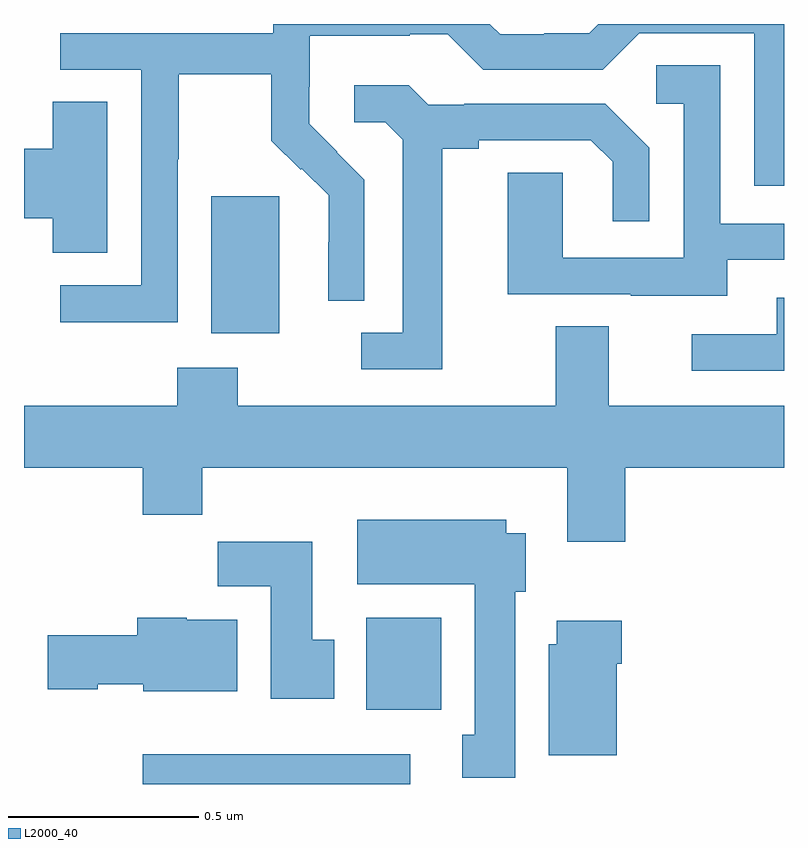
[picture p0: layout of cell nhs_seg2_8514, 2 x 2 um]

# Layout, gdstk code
import gdstk
lib = gdstk.Library(unit=1e-6, precision=1e-09)
def R(c, l, rs):  # rectangles x0, y0, x1, y1
    for r in rs: c.add(gdstk.rectangle(r[:2], r[2:], *l))
def P(c, l, *ps):  # polygons
    for p in ps: c.add(gdstk.Polygon(p, *l))
L2000_40 = (2000, 40)

nhs_seg2_8514 = lib.new_cell('nhs_seg2_8514')
R(nhs_seg2_8514, L2000_40, [(217.313,650.8,218.017,650.878), (217.901,650.996,218.098,651.238), (217.493,651.986,217.672,652.347)])
P(nhs_seg2_8514, L2000_40, [(217.404,652.444),(217.407,652.444),(217.407,652.668),(217.651,652.668),(217.651,652.493),(217.728,652.416),(217.731,652.419),(217.802,652.349),(217.802,652.226),(217.8,652.226),(217.8,652.072),(217.896,652.072),(217.896,652.39),(217.823,652.463),(217.824,652.464),(217.75,652.538),(217.75,652.635),(217.752,652.635),(217.752,652.769),(218.015,652.769),(218.015,652.773),(218.115,652.773),(218.208,652.68),(218.523,652.68),(218.619,652.776),(218.922,652.776),(218.922,652.374),(219,652.374),(219,652.8),(218.511,652.8),(218.487,652.776),(218.369,652.776),(218.369,652.773),(218.253,652.773),(218.226,652.8),(217.656,652.8),(217.656,652.776),(217.095,652.776),(217.095,652.68),(217.308,652.68),(217.308,652.113),(217.095,652.113),(217.095,652.015),(217.404,652.015)],
  [(218.851,652.179),(219,652.179),(219,652.275),(218.832,652.275),(218.832,652.691),(218.664,652.691),(218.664,652.59),(218.736,652.59),(218.736,652.185),(218.418,652.185),(218.418,652.409),(218.273,652.409),(218.273,652.089),(218.597,652.089),(218.597,652.085),(218.851,652.085)],
  [(218.101,652.472),(218.197,652.472),(218.197,652.494),(218.492,652.494),(218.549,652.437),(218.549,652.281),(218.646,652.281),(218.646,652.474),(218.53,652.59),(218.158,652.59),(218.158,652.587),(218.064,652.587),(218.012,652.639),(217.869,652.639),(217.869,652.542),(217.95,652.542),(217.997,652.495),(217.997,651.987),(217.887,651.987),(217.887,651.891),(218.101,651.891)],
  [(217.219,652.595),(217.076,652.595),(217.076,652.472),(217,652.472),(217,652.289),(217.076,652.289),(217.076,652.198),(217.219,652.198)],
  [(219,652.08),(218.981,652.08),(218.981,651.984),(218.757,651.984),(218.757,651.888),(219,651.888)],
  [(218.582,651.632),(219,651.632),(219,651.796),(218.539,651.796),(218.539,652.004),(218.399,652.004),(218.399,651.796),(217.563,651.796),(217.563,651.895),(217.403,651.895),(217.403,651.796),(217,651.796),(217,651.632),(217.313,651.632),(217.313,651.508),(217.469,651.508),(217.469,651.632),(218.429,651.632),(218.429,651.438),(218.582,651.438)],
  [(218.293,651.306),(218.32,651.306),(218.32,651.46),(218.269,651.46),(218.269,651.496),(217.877,651.496),(217.877,651.326),(218.186,651.326),(218.186,650.93),(218.153,650.93),(218.153,650.817),(218.293,650.817)],
  [(217.816,651.18),(217.759,651.18),(217.759,651.438),(217.51,651.438),(217.51,651.32),(217.649,651.32),(217.649,651.024),(217.816,651.024)],
  [(217.561,651.232),(217.428,651.232),(217.428,651.238),(217.298,651.238),(217.298,651.192),(217.062,651.192),(217.062,651.05),(217.194,651.05),(217.194,651.062),(217.314,651.062),(217.314,651.044),(217.561,651.044)],
  [(218.56,651.116),(218.573,651.116),(218.573,651.229),(218.402,651.229),(218.402,651.168),(218.381,651.168),(218.381,650.876),(218.56,650.876)])

lib.write_gds('nhs_seg2_8514.gds')
